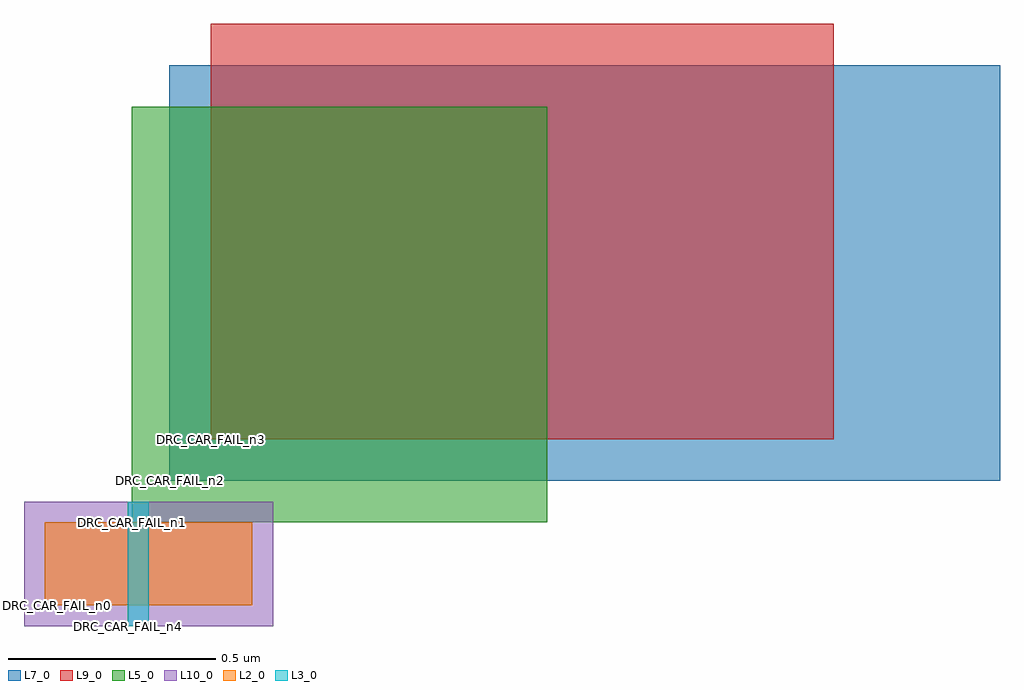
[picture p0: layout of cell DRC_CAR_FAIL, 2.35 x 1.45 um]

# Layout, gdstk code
import gdstk
lib = gdstk.Library(unit=1e-6, precision=1e-09)
def R(c, l, rs):  # rectangles x0, y0, x1, y1
    for r in rs: c.add(gdstk.rectangle(r[:2], r[2:], *l))
L2_0 = (2, 0)
L3_0 = (3, 0)
L5_0 = (5, 0)
L7_0 = (7, 0)
L9_0 = (9, 0)
L10_0 = (10, 0)

drc_car_fail = lib.new_cell('DRC_CAR_FAIL')
R(drc_car_fail, L2_0, [(0,0,0.5,0.2)])
R(drc_car_fail, L3_0, [(0.2,-0.05,0.25,0.25)])
R(drc_car_fail, L5_0, [(0.21,0.2,1.21,1.2)])
R(drc_car_fail, L7_0, [(0.3,0.3,2.3,1.3)])
R(drc_car_fail, L9_0, [(0.4,0.4,1.9,1.4)])
R(drc_car_fail, L10_0, [(-0.05,-0.05,0.55,0.25)])
drc_car_fail.add(gdstk.Label('DRC_CAR_FAIL_n0', (0,0), layer=2, texttype=5))
drc_car_fail.add(gdstk.Label('DRC_CAR_FAIL_n1', (0.21,0.2), layer=5, texttype=5))
drc_car_fail.add(gdstk.Label('DRC_CAR_FAIL_n2', (0.3,0.3), layer=7, texttype=5))
drc_car_fail.add(gdstk.Label('DRC_CAR_FAIL_n3', (0.4,0.4), layer=9, texttype=5))
drc_car_fail.add(gdstk.Label('DRC_CAR_FAIL_n4', (0.2,-0.05), layer=3, texttype=5))

lib.write_gds('DRC_CAR_FAIL.gds')
